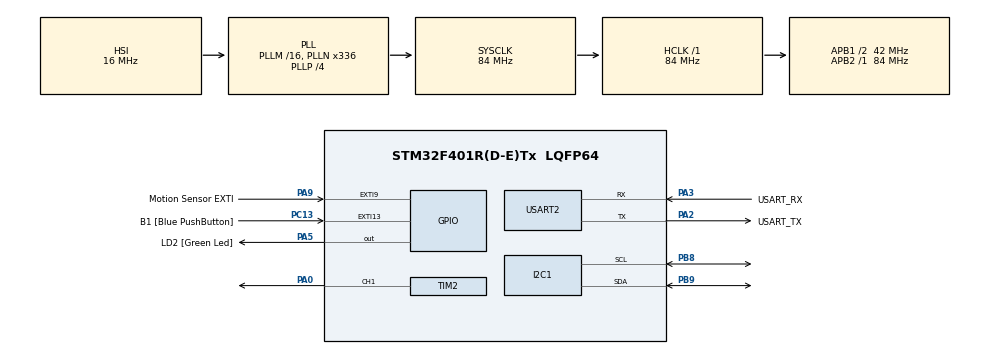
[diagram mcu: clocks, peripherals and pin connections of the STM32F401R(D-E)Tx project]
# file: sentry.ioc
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Mcu.Family=STM32F4
Mcu.Name=STM32F401R(D-E)Tx
Mcu.Package=LQFP64
NVIC.EXTI9_5_IRQn=true\:0\:0\:false\:false\:true\:true\:true\:true
NVIC.PriorityGroup=NVIC_PRIORITYGROUP_4
PA0-WKUP.Signal=S_TIM2_CH1_ETR
PA13.GPIO_Label=TMS
PA13.Mode=Trace_Asynchronous_SW
PA13.Signal=SYS_JTMS-SWDIO
PA14.GPIO_Label=TCK
PA14.Mode=Trace_Asynchronous_SW
PA14.Signal=SYS_JTCK-SWCLK
PA2.GPIO_Label=USART_TX
PA2.GPIO_Mode=GPIO_MODE_AF_PP
PA2.GPIO_PuPd=GPIO_NOPULL
PA2.GPIO_Speed=GPIO_SPEED_FREQ_LOW
PA2.Mode=Asynchronous
PA2.Signal=USART2_TX
PA3.GPIO_Label=USART_RX
PA3.GPIO_Mode=GPIO_MODE_AF_PP
PA3.GPIO_PuPd=GPIO_NOPULL
PA3.GPIO_Speed=GPIO_SPEED_FREQ_LOW
PA3.Mode=Asynchronous
PA3.Signal=USART2_RX
PA5.GPIO_Label=LD2 [Green Led]
PA5.GPIO_Mode=GPIO_MODE_OUTPUT_PP
PA5.GPIO_PuPd=GPIO_NOPULL
PA5.GPIO_Speed=GPIO_SPEED_FREQ_LOW
PA5.Signal=GPIO_Output
PA9.GPIO_Label=Motion Sensor EXTI
PA9.Signal=GPXTI9
PB3.GPIO_Label=SWO
PB3.Mode=Trace_Asynchronous_SW
PB3.Signal=SYS_JTDO-SWO
PB8.Mode=I2C
PB8.Signal=I2C1_SCL
PB9.Mode=I2C
PB9.Signal=I2C1_SDA
PC13-ANTI_TAMP.GPIO_Label=B1 [Blue PushButton]
PC13-ANTI_TAMP.GPIO_ModeDefaultEXTI=GPIO_MODE_IT_FALLING
PC13-ANTI_TAMP.GPIO_PuPd=GPIO_NOPULL
PC13-ANTI_TAMP.Signal=GPXTI13
PC14-OSC32_IN.Mode=LSE-External-Oscillator
PC14-OSC32_IN.Signal=RCC_OSC32_IN
PC15-OSC32_OUT.Mode=LSE-External-Oscillator
PC15-OSC32_OUT.Signal=RCC_OSC32_OUT
PH0\ -\ OSC_IN.Mode=HSE-External-Clock-Source
PH0\ -\ OSC_IN.Signal=RCC_OSC_IN
PH1\ -\ OSC_OUT.Mode=HSE-External-Clock-Source
PH1\ -\ OSC_OUT.Signal=RCC_OSC_OUT
ProjectManager.HeapSize=0x200
ProjectManager.StackSize=0x400
ProjectManager.TargetToolchain=STM32CubeIDE
RCC.48MHZClocksFreq_Value=48000000
RCC.AHBFreq_Value=84000000
RCC.APB1CLKDivider=RCC_HCLK_DIV2
RCC.APB1Freq_Value=42000000
RCC.APB1TimFreq_Value=84000000
RCC.APB2Freq_Value=84000000
RCC.APB2TimFreq_Value=84000000
RCC.CortexFreq_Value=84000000
RCC.HCLKFreq_Value=84000000
RCC.HSE_VALUE=8000000
RCC.HSI_VALUE=16000000
RCC.PLLN=336
RCC.PLLP=RCC_PLLP_DIV4
RCC.PLLQ=7
RCC.SYSCLKFreq_VALUE=84000000
RCC.SYSCLKSource=RCC_SYSCLKSOURCE_PLLCLK
RCC.VCOOutputFreq_Value=336000000
SH.S_TIM2_CH1_ETR.0=TIM2_CH1,PWM Generation1 CH1
TIM2.Channel-PWM\ Generation1\ CH1=TIM_CHANNEL_1
TIM2.Period=8399
TIM2.Prescaler=199
USART2.VirtualMode=VM_ASYNC
board=NUCLEO-F401RE

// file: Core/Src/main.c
/* USER CODE BEGIN Header */
/**
 ******************************************************************************
 * @file           : main.c
 * @brief          : Main program body
 ******************************************************************************
 * @attention
 *
 * Copyright (c) 2026 STMicroelectronics.
 * All rights reserved.
 *
 * This software is licensed under terms that can be found in the LICENSE file
 * in the root directory of this software component.
 * If no LICENSE file comes with this software, it is provided AS-IS.
 *
 ******************************************************************************
 */
/* USER CODE END Header */
#include "main.h"

/* USER CODE BEGIN Includes */
#include "i2c_lcd.h"
#include <stdbool.h> // <--- FIXES "bool", "true", "false" errors
#include "VL53L0X.h"
/* USER CODE END Includes */

/* USER CODE BEGIN PTD */
typedef enum
{
  IDLE,
  //  PROTECT, // created for future use
  SCAN,
  NOTIFY,
} State_t;
/* USER CODE END PTD */

I2C_HandleTypeDef hi2c1;

TIM_HandleTypeDef htim2;

UART_HandleTypeDef huart2;

/* USER CODE BEGIN PV */
volatile uint8_t motionDetected = 0;
State_t current_state = IDLE;

/* USER CODE END PV */

void SystemClock_Config(void);
static void MX_GPIO_Init(void);
static void MX_USART2_UART_Init(void);
static void MX_I2C1_Init(void);
static void MX_TIM2_Init(void);
/* USER CODE BEGIN PFP */
void Set_Servo_Angle(TIM_HandleTypeDef *htim, uint32_t channel, uint8_t angle);
/* USER CODE END PFP */

int main(void)
{

  /* MCU Configuration--------------------------------------------------------*/

  /* Reset of all peripherals, Initializes the Flash interface and the Systick. */
  HAL_Init();

  /* Configure the system clock */
  SystemClock_Config();

  /* Initialize all configured peripherals */
  MX_GPIO_Init();
  MX_USART2_UART_Init();
  MX_I2C1_Init();
  MX_TIM2_Init();
  /* USER CODE BEGIN 2 */

  // initial message buffer empty (for debugging console output)
  char msgBuffer[52];
  for (uint8_t i = 0; i < 52; i++)
  {
    msgBuffer[i] = ' ';
  }

  // LCD CODE
  lcd_init();

  // initialize distance laser
  statInfo_t_VL53L0X distanceStr;
  initVL53L0X(1, &hi2c1);

  // 20cm
  setSignalRateLimit(200);
  setVcselPulsePeriod(VcselPeriodPreRange, 10);
  setVcselPulsePeriod(VcselPeriodFinalRange, 14);
  setMeasurementTimingBudget(300 * 1000UL);
  uint16_t distance;

  // initial display content
  lcd_put_cursor(0, 0);
  lcd_send_string("Welcome to");
  lcd_put_cursor(1, 0);
  lcd_send_string("STM32 Sentry");
  HAL_Delay(1000);

  lcd_clear();
  lcd_put_cursor(0, 0);
  lcd_send_string("All Clear");

  HAL_TIM_PWM_Start(&htim2, TIM_CHANNEL_1);
  int obj_sector[4] = {0, 0, 0, 0}; // split 180 degree region into 4 sectors
  int sweepAngle = 0;
  Set_Servo_Angle(&htim2, TIM_CHANNEL_1, sweepAngle);

  uint32_t lastSweepTick = 0;

  /* USER CODE END 2 */

  /* Infinite loop */
  while (1)
  {
    /* USER CODE BEGIN 3 */

    switch (current_state)
    {
    case IDLE:
      if (motionDetected)
      {
        for (int i = 0; i < 4; i++)
        {
          obj_sector[i] = 0;
        }
        motionDetected = 0;
        current_state = SCAN;
      }
      break;

    case SCAN:
      // 200ms Non-blocking Timer
      if (HAL_GetTick() - lastSweepTick >= 200)
      {
        lastSweepTick = HAL_GetTick();

        // READ sensor & output
        distance = readRangeSingleMillimeters(&distanceStr);
        sprintf(msgBuffer, "Ang: %d | Dist: %d\r\n", sweepAngle, distance);
        HAL_UART_Transmit(&huart2, (uint8_t *)msgBuffer, strlen(msgBuffer), 100);

        // Data processing
        if (distance > 0 && distance < 160)
        {
          int sector_index = sweepAngle / 45;
          if (sector_index > 3)
            sector_index = 3;
          obj_sector[sector_index] = 1;
        }

        // 3. Move Servo motor
        sweepAngle += 10;

        if (sweepAngle > 180)
        {
          current_state = NOTIFY;
          sweepAngle = 0;
          Set_Servo_Angle(&htim2, TIM_CHANNEL_1, sweepAngle);
          HAL_Delay(400);
        }
        else
        {
          Set_Servo_Angle(&htim2, TIM_CHANNEL_1, sweepAngle);
        }
      }
      break;

    case NOTIFY:
    {
      bool foreign_objects = false;

      // Check if any sectors are tripped
      for (int i = 0; i < 4; i++)
      {
        if (obj_sector[i])
        {
          foreign_objects = true;
        }
      }

      // Update Display
      lcd_clear(); // Clear the prev. message
      lcd_put_cursor(0, 0);

      if (foreign_objects)
      {
        lcd_send_string("OBJECTS FOUND:");

        lcd_put_cursor(1, 0);
        for (int i = 0; i < 4; i++)
        {
          if (obj_sector[i])
          {
            lcd_send_string("[X] "); // X marks an object in that sector
          }
          else
          {
            lcd_send_string("[ ] "); // Empty sector
          }
        }

        current_state = SCAN;
        for (int i = 0; i < 4; i++)
        {
          obj_sector[i] = 0;
        }
      }
      else
      {
        current_state = IDLE;
        lcd_put_cursor(0, 0);
        lcd_send_string("STM32 Sentry");
        lcd_put_cursor(1, 0);
        lcd_send_string("All Clear");

        uint32_t startWait = HAL_GetTick();
        while (HAL_GetTick() - startWait < 1000)
        {
          if (motionDetected)
          {
            break;
          }
        }
      }
      break;
    }
    }
  }
  /* USER CODE END 3 */
}

void SystemClock_Config(void)
{
  RCC_OscInitTypeDef RCC_OscInitStruct = {0};
  RCC_ClkInitTypeDef RCC_ClkInitStruct = {0};

  /** Configure the main internal regulator output voltage
   */
  __HAL_RCC_PWR_CLK_ENABLE();
  __HAL_PWR_VOLTAGESCALING_CONFIG(PWR_REGULATOR_VOLTAGE_SCALE2);

  /** Initializes the RCC Oscillators according to the specified parameters
   * in the RCC_OscInitTypeDef structure.
   */
  RCC_OscInitStruct.OscillatorType = RCC_OSCILLATORTYPE_HSI;
  RCC_OscInitStruct.HSIState = RCC_HSI_ON;
  RCC_OscInitStruct.HSICalibrationValue = RCC_HSICALIBRATION_DEFAULT;
  RCC_OscInitStruct.PLL.PLLState = RCC_PLL_ON;
  RCC_OscInitStruct.PLL.PLLSource = RCC_PLLSOURCE_HSI;
  RCC_OscInitStruct.PLL.PLLM = 16;
  RCC_OscInitStruct.PLL.PLLN = 336;
  RCC_OscInitStruct.PLL.PLLP = RCC_PLLP_DIV4;
  RCC_OscInitStruct.PLL.PLLQ = 7;
  if (HAL_RCC_OscConfig(&RCC_OscInitStruct) != HAL_OK)
  {
    Error_Handler();
  }

  /** Initializes the CPU, AHB and APB buses clocks
   */
  RCC_ClkInitStruct.ClockType = RCC_CLOCKTYPE_HCLK | RCC_CLOCKTYPE_SYSCLK | RCC_CLOCKTYPE_PCLK1 | RCC_CLOCKTYPE_PCLK2;
  RCC_ClkInitStruct.SYSCLKSource = RCC_SYSCLKSOURCE_PLLCLK;
  RCC_ClkInitStruct.AHBCLKDivider = RCC_SYSCLK_DIV1;
  RCC_ClkInitStruct.APB1CLKDivider = RCC_HCLK_DIV2;
  RCC_ClkInitStruct.APB2CLKDivider = RCC_HCLK_DIV1;

  if (HAL_RCC_ClockConfig(&RCC_ClkInitStruct, FLASH_LATENCY_2) != HAL_OK)
  {
    Error_Handler();
  }
}

static void MX_I2C1_Init(void)
{

  hi2c1.Instance = I2C1;
  hi2c1.Init.ClockSpeed = 100000;
  hi2c1.Init.DutyCycle = I2C_DUTYCYCLE_2;
  hi2c1.Init.OwnAddress1 = 0;
  hi2c1.Init.AddressingMode = I2C_ADDRESSINGMODE_7BIT;
  hi2c1.Init.DualAddressMode = I2C_DUALADDRESS_DISABLE;
  hi2c1.Init.OwnAddress2 = 0;
  hi2c1.Init.GeneralCallMode = I2C_GENERALCALL_DISABLE;
  hi2c1.Init.NoStretchMode = I2C_NOSTRETCH_DISABLE;
  if (HAL_I2C_Init(&hi2c1) != HAL_OK)
  {
    Error_Handler();
  }
}

static void MX_TIM2_Init(void)
{

  TIM_MasterConfigTypeDef sMasterConfig = {0};
  TIM_OC_InitTypeDef sConfigOC = {0};

  htim2.Instance = TIM2;
  htim2.Init.Prescaler = 199;
  htim2.Init.CounterMode = TIM_COUNTERMODE_UP;
  htim2.Init.Period = 8399;
  htim2.Init.ClockDivision = TIM_CLOCKDIVISION_DIV1;
  htim2.Init.AutoReloadPreload = TIM_AUTORELOAD_PRELOAD_DISABLE;
  if (HAL_TIM_PWM_Init(&htim2) != HAL_OK)
  {
    Error_Handler();
  }
  sMasterConfig.MasterOutputTrigger = TIM_TRGO_RESET;
  sMasterConfig.MasterSlaveMode = TIM_MASTERSLAVEMODE_DISABLE;
  if (HAL_TIMEx_MasterConfigSynchronization(&htim2, &sMasterConfig) != HAL_OK)
  {
    Error_Handler();
  }
  sConfigOC.OCMode = TIM_OCMODE_PWM1;
  sConfigOC.Pulse = 0;
  sConfigOC.OCPolarity = TIM_OCPOLARITY_HIGH;
  sConfigOC.OCFastMode = TIM_OCFAST_DISABLE;
  if (HAL_TIM_PWM_ConfigChannel(&htim2, &sConfigOC, TIM_CHANNEL_1) != HAL_OK)
  {
    Error_Handler();
  }
  HAL_TIM_MspPostInit(&htim2);
}

static void MX_USART2_UART_Init(void)
{

  huart2.Instance = USART2;
  huart2.Init.BaudRate = 115200;
  huart2.Init.WordLength = UART_WORDLENGTH_8B;
  huart2.Init.StopBits = UART_STOPBITS_1;
  huart2.Init.Parity = UART_PARITY_NONE;
  huart2.Init.Mode = UART_MODE_TX_RX;
  huart2.Init.HwFlowCtl = UART_HWCONTROL_NONE;
  huart2.Init.OverSampling = UART_OVERSAMPLING_16;
  if (HAL_UART_Init(&huart2) != HAL_OK)
  {
    Error_Handler();
  }
}

static void MX_GPIO_Init(void)
{
  GPIO_InitTypeDef GPIO_InitStruct = {0};

  /* GPIO Ports Clock Enable */
  __HAL_RCC_GPIOC_CLK_ENABLE();
  __HAL_RCC_GPIOH_CLK_ENABLE();
  __HAL_RCC_GPIOA_CLK_ENABLE();
  __HAL_RCC_GPIOB_CLK_ENABLE();

  /*Configure GPIO pin Output Level */
  HAL_GPIO_WritePin(LD2_GPIO_Port, LD2_Pin, GPIO_PIN_RESET);

  /*Configure GPIO pin : B1_Pin */
  GPIO_InitStruct.Pin = B1_Pin;
  GPIO_InitStruct.Mode = GPIO_MODE_IT_FALLING;
  GPIO_InitStruct.Pull = GPIO_NOPULL;
  HAL_GPIO_Init(B1_GPIO_Port, &GPIO_InitStruct);

  /*Configure GPIO pin : LD2_Pin */
  GPIO_InitStruct.Pin = LD2_Pin;
  GPIO_InitStruct.Mode = GPIO_MODE_OUTPUT_PP;
  GPIO_InitStruct.Pull = GPIO_NOPULL;
  GPIO_InitStruct.Speed = GPIO_SPEED_FREQ_LOW;
  HAL_GPIO_Init(LD2_GPIO_Port, &GPIO_InitStruct);

  /*Configure GPIO pin : Motion_Sensor_EXTI_Pin */
  GPIO_InitStruct.Pin = Motion_Sensor_EXTI_Pin;
  GPIO_InitStruct.Mode = GPIO_MODE_IT_RISING;
  GPIO_InitStruct.Pull = GPIO_NOPULL;
  HAL_GPIO_Init(Motion_Sensor_EXTI_GPIO_Port, &GPIO_InitStruct);

  /* EXTI interrupt init*/
  HAL_NVIC_SetPriority(EXTI9_5_IRQn, 0, 0);
  HAL_NVIC_EnableIRQ(EXTI9_5_IRQn);

}

/* USER CODE BEGIN 4 */
void HAL_GPIO_EXTI_Callback(uint16_t GPIO_Pin)
{
  if (GPIO_Pin == Motion_Sensor_EXTI_Pin)
  {
    motionDetected = 1;
  }
}

void Set_Servo_Angle(TIM_HandleTypeDef *htim, uint32_t channel, uint8_t angle)
{
  uint32_t pulse_length = 210 + (angle * (1050 - 210) / 180);
  __HAL_TIM_SET_COMPARE(htim, channel, pulse_length);
}

/* USER CODE END 4 */

void Error_Handler(void)
{
  __disable_irq();
  while (1)
  {
  }
}
